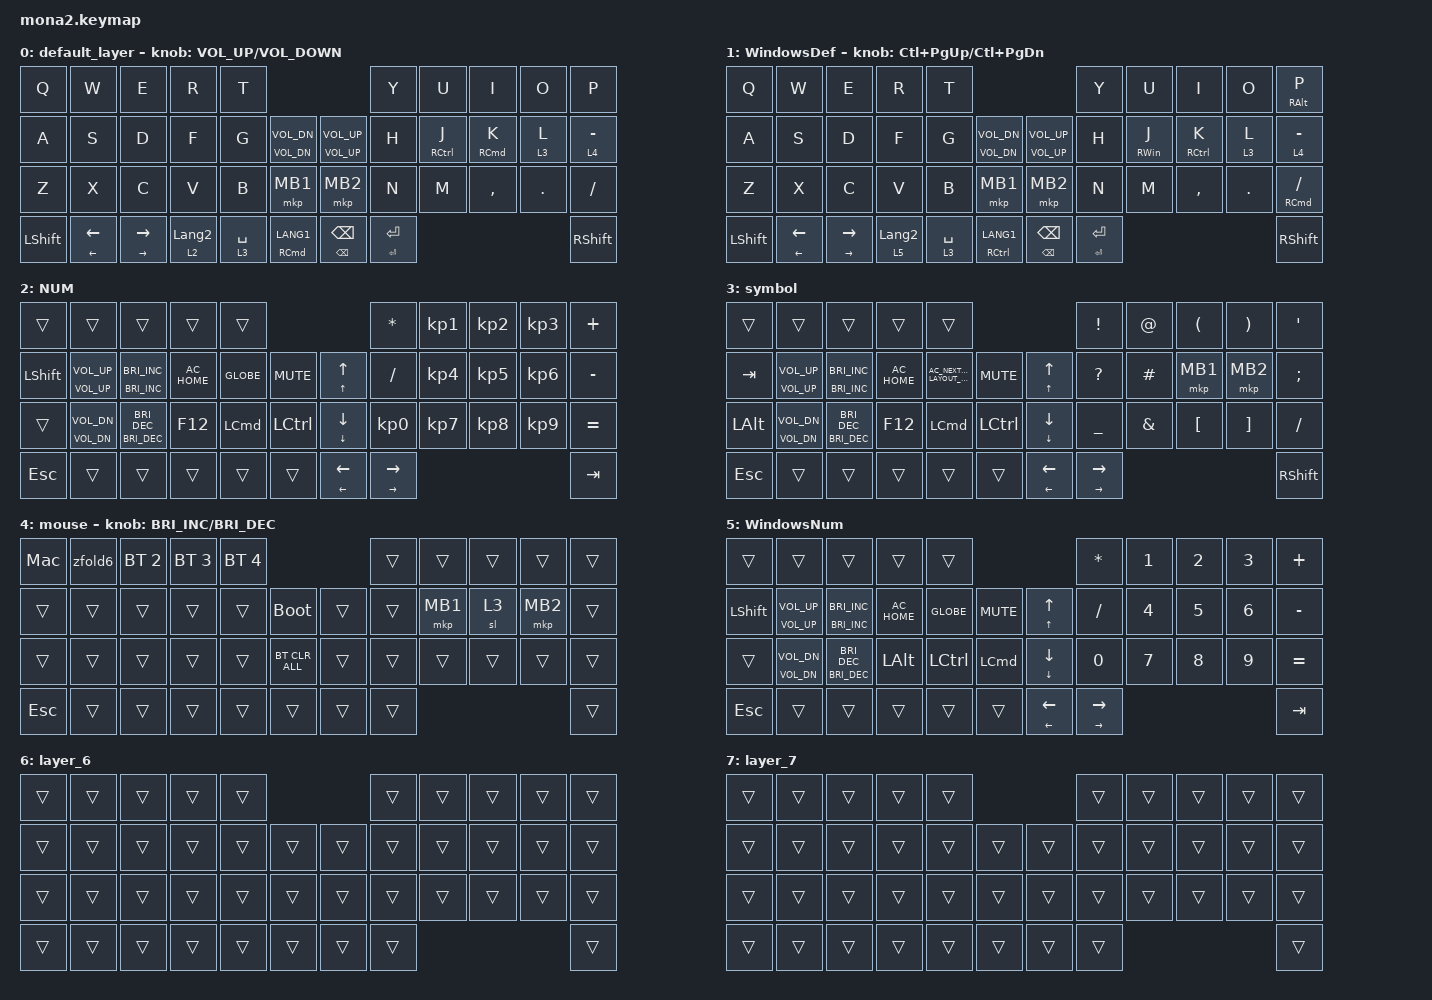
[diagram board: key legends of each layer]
#include <input/processors.dtsi>
#include <dt-bindings/zmk/input_transform.h>
#include <zephyr/dt-bindings/input/input-event-codes.h>
#include <behaviors.dtsi>
#include <dt-bindings/zmk/bt.h>
#include <dt-bindings/zmk/keys.h>
#include <dt-bindings/zmk/pointing.h>

#define ZMK_POINTING_DEFAULT_SCRL_VAL 100

#define SCROLL 2
#define MOUSE 4

&mt {
    flavor = "balanced";
    quick-tap-ms = <300>;
};

/ {

    combos { compatible = "zmk,combos"; };

    macros {
        Mac: to_layer_0 {
            compatible = "zmk,behavior-macro";
            #binding-cells = <0>;
            bindings =
                <&tog_off 0 &tog_off 1>,
                <&macro_wait_time 200>,
                <&bt BT_SEL 0>,
                <&macro_wait_time 400>,
                <&tog_on 0>;

            label = "TO_LAYER_0";
        };

        zfold6: new_macro {
            compatible = "zmk,behavior-macro";
            #binding-cells = <0>;
            bindings =
                <&tog_off 0 &tog_off 1>,
                <&macro_wait_time 200>,
                <&bt BT_SEL 1>,
                <&macro_wait_time 400>,
                <&tog_on 1>;

            label = "NEW_MACRO";
        };
    };

    behaviors {
        lt_to_layer_0: lt_to_layer_0 {
            compatible = "zmk,behavior-hold-tap";
            label = "LAYER_TAP_TO_0";
            bindings = <&mo>, <&Mac>;

            #binding-cells = <2>;
            tapping-term-ms = <200>;
        };



        tog_on: toggle_layer_on_only {
            compatible = "zmk,behavior-toggle-layer";
            #binding-cells = <1>;
            display-name = "Toggle Layer On";
            toggle-mode = "on";
        };

        tog_off: toggle_layer_off_only {
            compatible = "zmk,behavior-toggle-layer";
            #binding-cells = <1>;
            display-name = "Toggle Layer Off";
            toggle-mode = "off";
        };

        scroll_up_down: mouse_wheel_up_down {
            compatible = "zmk,behavior-sensor-rotate";
            #sensor-binding-cells = <0>;
            bindings = <&msc SCRL_DOWN>, <&msc SCRL_UP>;

            tap-ms = <20>;
        };

        scroll_right_left: mouse_wheel_right_left {
            compatible = "zmk,behavior-sensor-rotate";
            #sensor-binding-cells = <0>;
            bindings = <&msc SCRL_LEFT>, <&msc SCRL_RIGHT>;

            tap-ms = <20>;
　　　　 };
    };

    keymap {
        compatible = "zmk,keymap";

        default_layer {
            bindings = <
&kp Q           &kp W                      &kp E                        &kp R             &kp T                                                              &kp Y            &kp U                &kp I                &kp O    &kp P
&kp A           &kp S                      &kp D                        &kp F             &kp G        &mt C_VOL_DN C_VOL_DN        &mt C_VOL_UP C_VOL_UP    &kp H            &mt RIGHT_CONTROL J  &mt RIGHT_COMMAND K  &lt 3 L  &lt 4 MINUS
&kp Z           &kp X                      &kp C                        &kp V             &kp B        &mkp MB1                     &mkp MB2                 &kp N            &kp M                &kp COMMA            &kp DOT  &kp SLASH
&kp LEFT_SHIFT  &mt LEFT_ARROW LEFT_ARROW  &mt RIGHT_ARROW RIGHT_ARROW  &lt 2 LANGUAGE_2  &lt 3 SPACE  &mt RIGHT_COMMAND LANG1      &mt BACKSPACE BACKSPACE  &mt ENTER ENTER                                                     &kp RIGHT_SHIFT
            >;

            sensor-bindings = <&inc_dec_kp C_VOL_UP C_VOLUME_DOWN>;
        };

        WindowsDef {
            bindings = <
&kp Q           &kp W                      &kp E                        &kp R             &kp T                                                              &kp Y            &kp U            &kp I                &kp O    &mt RIGHT_ALT P
&kp A           &kp S                      &kp D                        &kp F             &kp G        &mt C_VOL_DN C_VOL_DN        &mt C_VOL_UP C_VOL_UP    &kp H            &mt RIGHT_WIN J  &mt RIGHT_CONTROL K  &lt 3 L  &lt 4 MINUS
&kp Z           &kp X                      &kp C                        &kp V             &kp B        &mkp MB1                     &mkp MB2                 &kp N            &kp M            &kp COMMA            &kp DOT  &mt RIGHT_COMMAND SLASH
&kp LEFT_SHIFT  &mt LEFT_ARROW LEFT_ARROW  &mt RIGHT_ARROW RIGHT_ARROW  &lt 5 LANGUAGE_2  &lt 3 SPACE  &mt RIGHT_CONTROL LANG1      &mt BACKSPACE BACKSPACE  &mt ENTER ENTER                                                 &kp RIGHT_SHIFT
            >;

            sensor-bindings = <&inc_dec_kp LC(PAGE_UP) LC(PAGE_DOWN)>;
        };

        NUM {
            bindings = <
&trans          &trans                 &trans                   &trans         &trans                                                             &kp ASTERISK                 &kp KP_NUMBER_1  &kp KP_NUMBER_2  &kp KP_NUMBER_3  &kp PLUS
&kp LEFT_SHIFT  &mt C_VOL_UP C_VOL_UP  &mt C_BRI_INC C_BRI_INC  &kp C_AC_HOME  &kp GLOBE         &kp K_MUTE            &mt UP_ARROW UP_ARROW      &kp SLASH                    &kp KP_NUMBER_4  &kp KP_NUMBER_5  &kp KP_NUMBER_6  &kp MINUS
&trans          &mt C_VOL_DN C_VOL_DN  &mt C_BRI_DEC C_BRI_DEC  &kp F12        &kp LEFT_COMMAND  &kp LEFT_CONTROL      &mt DOWN_ARROW DOWN_ARROW  &kp KP_NUMBER_0              &kp KP_NUMBER_7  &kp KP_NUMBER_8  &kp KP_NUMBER_9  &kp EQUAL
&kp ESCAPE      &trans                 &trans                   &trans         &trans            &trans                &mt LEFT_ARROW LEFT_ARROW  &mt RIGHT_ARROW RIGHT_ARROW                                                     &kp TAB
            >;
        };

        symbol {
            bindings = <
&trans        &trans                 &trans                   &trans         &trans                                                                                 &kp EXCLAMATION        &kp AT_SIGN    &kp LEFT_PARENTHESIS  &kp RIGHT_PARENTHESIS  &kp SQT
&kp TAB       &mt C_VOL_UP C_VOL_UP  &mt C_BRI_INC C_BRI_INC  &kp C_AC_HOME  &kp C_AC_NEXT_KEYBOARD_LAYOUT_SELECT  &kp K_MUTE            &mt UP_ARROW UP_ARROW      &kp QUESTION           &kp HASH       &mkp MB1              &mkp MB2               &kp SEMICOLON
&kp LEFT_ALT  &mt C_VOL_DN C_VOL_DN  &mt C_BRI_DEC C_BRI_DEC  &kp F12        &kp LEFT_COMMAND                      &kp LEFT_CONTROL      &mt DOWN_ARROW DOWN_ARROW  &kp UNDER              &kp AMPERSAND  &kp LEFT_BRACKET      &kp RIGHT_BRACKET      &kp SLASH
&kp ESCAPE    &trans                 &trans                   &trans         &trans                                &trans                &mt LEFT LEFT_ARROW        &mt RIGHT RIGHT_ARROW                                                              &kp RSHFT
            >;
        };

        mouse {
            bindings = <
&Mac        &zfold6  &bt BT_SEL 2  &bt BT_SEL 3  &bt BT_SEL 4                              &trans  &trans    &trans  &trans    &trans
&trans      &trans   &trans        &trans        &trans        &bootloader         &trans  &trans  &mkp MB1  &sl 3   &mkp MB2  &trans
&trans      &trans   &trans        &trans        &trans        &bt BT_CLR_ALL      &trans  &trans  &trans    &trans  &trans    &trans
&kp ESCAPE  &trans   &trans        &trans        &trans        &trans              &trans  &trans                              &trans
            >;

            sensor-bindings = <&inc_dec_kp C_BRIGHTNESS_INC C_BRIGHTNESS_DEC>;
        };

        WindowsNum {
            bindings = <
&trans          &trans                 &trans                   &trans         &trans                                                             &kp ASTRK                    &kp NUMBER_1  &kp NUMBER_2  &kp NUMBER_3  &kp PLUS
&kp LEFT_SHIFT  &mt C_VOL_UP C_VOL_UP  &mt C_BRI_INC C_BRI_INC  &kp C_AC_HOME  &kp GLOBE         &kp K_MUTE            &mt UP_ARROW UP_ARROW      &kp SLASH                    &kp NUMBER_4  &kp NUMBER_5  &kp NUMBER_6  &kp MINUS
&trans          &mt C_VOL_DN C_VOL_DN  &mt C_BRI_DEC C_BRI_DEC  &kp LEFT_ALT   &kp LEFT_CONTROL  &kp LEFT_COMMAND      &mt DOWN_ARROW DOWN_ARROW  &kp NUMBER_0                 &kp NUMBER_7  &kp NUMBER_8  &kp NUMBER_9  &kp EQUAL
&kp ESCAPE      &trans                 &trans                   &trans         &trans            &trans                &mt LEFT_ARROW LEFT_ARROW  &mt RIGHT_ARROW RIGHT_ARROW                                            &kp TAB
            >;
        };

        layer_6 {
            bindings = <
&trans  &trans  &trans  &trans  &trans                      &trans  &trans  &trans  &trans  &trans
&trans  &trans  &trans  &trans  &trans  &trans      &trans  &trans  &trans  &trans  &trans  &trans
&trans  &trans  &trans  &trans  &trans  &trans      &trans  &trans  &trans  &trans  &trans  &trans
&trans  &trans  &trans  &trans  &trans  &trans      &trans  &trans                          &trans
            >;
        };

        layer_7 {
            bindings = <
&trans  &trans  &trans  &trans  &trans                      &trans  &trans  &trans  &trans  &trans
&trans  &trans  &trans  &trans  &trans  &trans      &trans  &trans  &trans  &trans  &trans  &trans
&trans  &trans  &trans  &trans  &trans  &trans      &trans  &trans  &trans  &trans  &trans  &trans
&trans  &trans  &trans  &trans  &trans  &trans      &trans  &trans                          &trans
            >;
        };
    };
};
